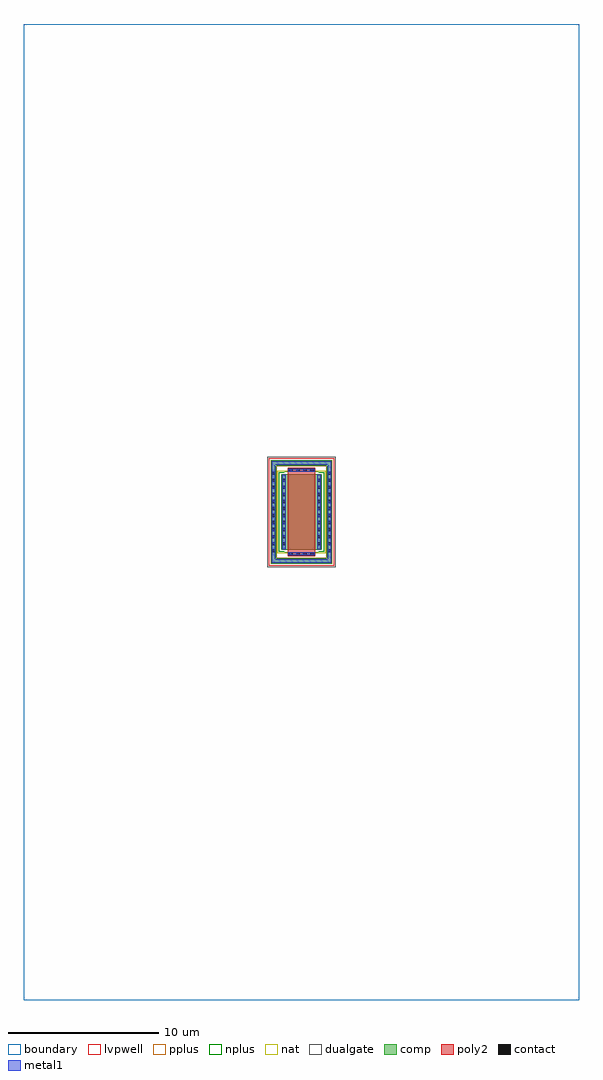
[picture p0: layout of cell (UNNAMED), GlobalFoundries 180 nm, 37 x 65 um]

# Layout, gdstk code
import gdstk
lib = gdstk.Library(unit=1e-6, precision=1e-09)
def R(c, l, rs):  # rectangles x0, y0, x1, y1
    for r in rs: c.add(gdstk.rectangle(r[:2], r[2:], *l))
def A(c, l, x, y, w, h, nx, ny, dx, dy):  # array of equal rectangles
    R(c, l, [(x+i*dx, y+j*dy, x+i*dx+w, y+j*dy+h) for i in range(nx) for j in range(ny)])
boundary = (0, 0)
nat = (5, 0)
comp = (22, 0)
poly2 = (30, 0)
pplus = (31, 0)
nplus = (32, 0)
contact = (33, 0)
metal1 = (34, 0)
dualgate = (55, 0)
lvpwell = (204, 0)

c__unnamed_ = lib.new_cell('(UNNAMED)')
R(c__unnamed_, boundary, [(-18.5,-32.5,18.5,32.5)])
R(c__unnamed_, nat, [(-1.6,-2.76,1.6,2.76)])
R(c__unnamed_, comp, [(-2.03,-3.43,2.03,-3.07), (-2.03,-3.07,-1.67,3.07), (1.67,-3.07,2.03,3.07), (-1.34,-2.5,1.34,2.5), (-2.03,3.07,2.03,3.43)])
R(c__unnamed_, poly2, [(-0.9,-2.96,0.9,2.96)])
R(c__unnamed_, pplus, [(-2.05,-3.45,2.05,-3.05), (-2.05,-3.05,-1.64,-2.945), (1.64,-3.05,2.05,-2.945), (-2.06,-2.945,-1.64,2.945), (1.64,-2.945,2.06,2.945), (-2.05,2.945,-1.64,3.05), (1.64,2.945,2.05,3.05), (-2.05,3.05,2.05,3.45)])
R(c__unnamed_, nplus, [(-1.13,-2.73,1.13,-2.66), (-1.5,-2.66,1.5,2.66), (-1.13,2.66,1.13,2.73)])
A(c__unnamed_, contact, -0.815, -2.89, 0.22, 0.22, 4, 2, 0.47, 5.56)
A(c__unnamed_, contact, -1.96, -2.695, 0.22, 0.22, 1, 12, 0, 0.47)
A(c__unnamed_, contact, 1.74, -2.695, 0.22, 0.22, 1, 12, 0, 0.47)
A(c__unnamed_, contact, -1.27, -2.225, 0.22, 0.22, 1, 10, 0, 0.47)
A(c__unnamed_, contact, 1.05, -2.225, 0.22, 0.22, 1, 10, 0, 0.47)
R(c__unnamed_, metal1, [(-1.965,-3.365,1.965,-3.135), (-1.965,-3.135,-1.735,3.135), (1.735,-3.135,1.965,3.135), (-0.89,-2.895,0.89,-2.665), (-1.275,-2.49,-1.045,2.49), (1.045,-2.49,1.275,2.49), (-0.89,2.665,0.89,2.895), (-1.965,3.135,1.965,3.365)])
R(c__unnamed_, dualgate, [(-2.27,-3.67,2.27,3.67)])
R(c__unnamed_, lvpwell, [(-2.19,-3.59,2.19,3.59)])

lib.write_gds('_UNNAMED_.gds')
